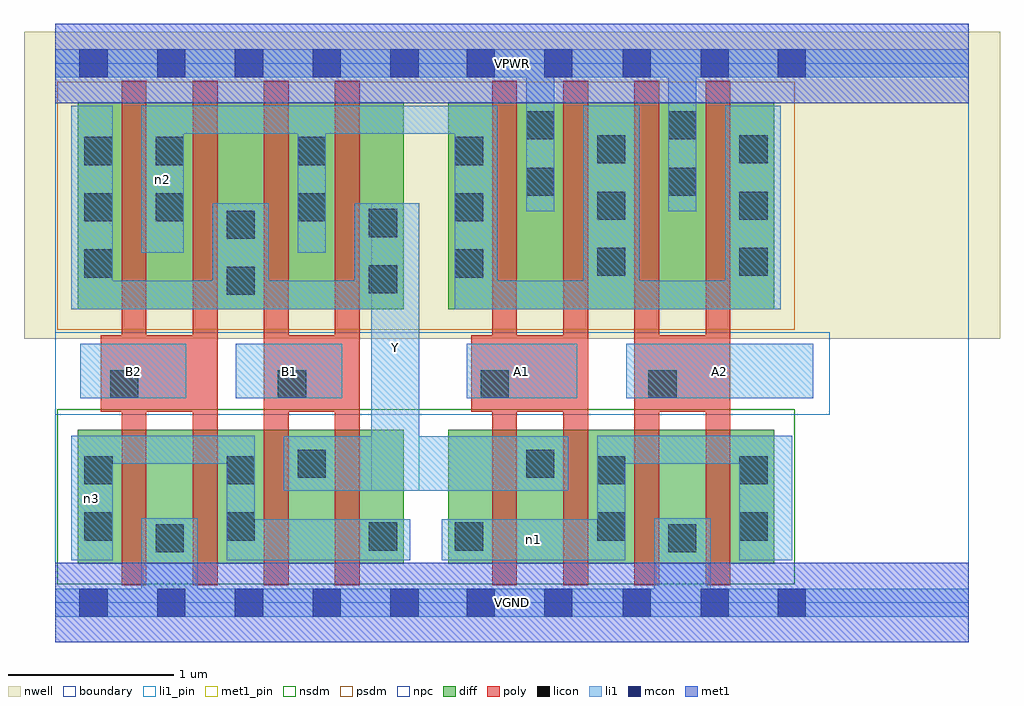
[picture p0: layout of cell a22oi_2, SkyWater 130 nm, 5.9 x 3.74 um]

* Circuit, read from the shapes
.subckt a22oi_2 A1 A2 B1 B2 VGND VPWR Y n1 n2 n3
XM1 VGND B2 n3 VSUBS sky130_fd_pr__nfet_01v8 w=0.81 l=0.15 m=2
XM2 Y B1 n3 VSUBS sky130_fd_pr__nfet_01v8 w=0.81 l=0.15 m=2
XM3 Y A1 n1 VSUBS sky130_fd_pr__nfet_01v8 w=0.81 l=0.15 m=2
XM4 VGND A2 n1 VSUBS sky130_fd_pr__nfet_01v8 w=0.81 l=0.15 m=2
XM5 n2 B2 Y n4 sky130_fd_pr__pfet_01v8 w=1.25 l=0.15 m=2
XM6 n2 B1 Y n4 sky130_fd_pr__pfet_01v8 w=1.25 l=0.15 m=2
XM7 VPWR A1 n2 n4 sky130_fd_pr__pfet_01v8 w=1.25 l=0.15 m=2
XM8 VPWR A2 n2 n4 sky130_fd_pr__pfet_01v8 w=1.25 l=0.15 m=2
.ends

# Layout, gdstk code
import gdstk
lib = gdstk.Library(unit=1e-6, precision=1e-09)
def R(c, l, rs):  # rectangles x0, y0, x1, y1
    for r in rs: c.add(gdstk.rectangle(r[:2], r[2:], *l))
def A(c, l, x, y, w, h, nx, ny, dx, dy):  # array of equal rectangles
    R(c, l, [(x+i*dx, y+j*dy, x+i*dx+w, y+j*dy+h) for i in range(nx) for j in range(ny)])
nwell = (64, 20)
diff = (65, 20)
poly = (66, 20)
licon = (66, 44)
li1_pin = (67, 16)
li1 = (67, 20)
mcon = (67, 44)
met1_pin = (68, 16)
met1 = (68, 20)
nsdm = (93, 44)
psdm = (94, 20)
npc = (95, 20)
boundary = (235, 4)

a22oi_2 = lib.new_cell('a22oi_2')
R(a22oi_2, nwell, [(-0.19,1.595,5.71,3.45), (0,1.595,5.52,3.45)])
R(a22oi_2, diff, [(0.135,0.235,2.105,1.045), (2.375,0.235,4.345,1.045), (0.135,1.775,2.105,3.025), (2.375,1.775,4.345,3.025)])
A(a22oi_2, poly, 0.4, 0.105, 0.15, 3.05, 4, 1, 0.43, 0)
A(a22oi_2, poly, 2.64, 0.105, 0.15, 3.05, 4, 1, 0.43, 0)
R(a22oi_2, poly, [(0.275,1.155,0.98,1.615), (1.26,1.155,1.84,1.615), (2.515,1.155,3.22,1.615), (3.5,1.155,4.08,1.615)])
A(a22oi_2, licon, 0.175, 1.965, 0.17, 0.17, 1, 3, 0, 0.34)
A(a22oi_2, licon, 2.415, 1.965, 0.17, 0.17, 1, 3, 0, 0.34)
A(a22oi_2, licon, 3.275, 1.975, 0.17, 0.17, 1, 3, 0, 0.34)
A(a22oi_2, licon, 4.135, 1.975, 0.17, 0.17, 1, 3, 0, 0.34)
R(a22oi_2, licon, [(0.605,0.305,0.775,0.475), (3.705,0.305,3.875,0.475), (1.895,0.315,2.065,0.485), (2.415,0.315,2.585,0.485), (0.175,0.375,0.345,0.545), (1.035,0.375,1.205,0.545), (3.275,0.375,3.445,0.545), (4.135,0.375,4.305,0.545), (0.175,0.715,0.345,0.885), (1.035,0.715,1.205,0.885), (3.275,0.715,3.445,0.885), (4.135,0.715,4.305,0.885), (1.465,0.755,1.635,0.925), (2.845,0.755,3.015,0.925), (0.33,1.235,0.5,1.405), (1.345,1.235,1.515,1.405), (2.57,1.235,2.74,1.405), (3.585,1.235,3.755,1.405), (1.035,1.86,1.205,2.03), (1.895,1.87,2.065,2.04), (1.035,2.2,1.205,2.37), (1.895,2.21,2.065,2.38), (0.605,2.305,0.775,2.475), (1.465,2.305,1.635,2.475), (2.845,2.46,3.015,2.63), (3.705,2.46,3.875,2.63), (0.605,2.645,0.775,2.815), (1.465,2.645,1.635,2.815), (2.845,2.8,3.015,2.97), (3.705,2.8,3.875,2.97)])
R(a22oi_2, li1_pin, [(1.91,0.675,2.2,2.415), (0.15,1.235,0.79,1.565), (1.09,1.235,1.735,1.565), (2.485,1.235,3.155,1.565), (3.45,1.235,4.58,1.565)])
R(a22oi_2, li1, [(0,-0.085,5.52,0.085), (0.52,-0.085,0.86,0.51), (3.62,-0.085,3.96,0.51), (0.095,0.255,0.345,1.01), (1.035,0.255,2.145,0.505), (1.035,0.255,1.205,1.01), (2.335,0.255,3.445,0.505), (3.275,0.255,3.445,1.01), (4.135,0.255,4.455,1.01), (1.38,0.675,3.1,1.005), (1.91,0.675,2.2,2.415), (0.095,0.84,1.205,1.01), (3.275,0.84,4.455,1.01), (0.15,1.235,0.79,1.565), (1.09,1.235,1.735,1.565), (2.485,1.235,3.155,1.565), (3.45,1.235,4.58,1.565), (0.095,1.775,2.2,1.945), (0.095,1.775,0.345,3.005), (0.95,1.775,1.29,2.415), (1.81,1.775,2.2,2.415), (2.415,1.775,4.385,1.945), (2.415,1.775,2.67,3.005), (3.19,1.775,3.53,3.005), (4.05,1.775,4.385,3.005), (0.52,2.115,0.775,3.005), (1.465,2.115,1.635,3.005), (2.845,2.365,3.015,3.345), (3.705,2.365,3.875,3.345), (0.52,2.835,2.67,3.005), (0,3.175,5.52,3.345)])
A(a22oi_2, mcon, 0.145, -0.085, 0.17, 0.17, 5, 2, 0.47, 3.26)
R(a22oi_2, mcon, [(2.485,-0.085,2.655,0.085), (2.955,-0.085,3.125,0.085), (3.43,-0.085,3.6,0.085), (3.9,-0.085,4.07,0.085), (4.365,-0.085,4.535,0.085), (2.485,3.175,2.655,3.345), (2.955,3.175,3.125,3.345), (3.43,3.175,3.6,3.345), (3.9,3.175,4.07,3.345), (4.365,3.175,4.535,3.345)])
R(a22oi_2, met1_pin, [(0,-0.24,5.52,0.24), (0,3.02,5.52,3.5)])
R(a22oi_2, met1, [(0,-0.24,5.52,0.24), (0,3.02,5.52,3.5)])
R(a22oi_2, nsdm, [(0.01,0.11,4.47,1.17)])
R(a22oi_2, psdm, [(0.01,1.65,4.47,3.15)])
R(a22oi_2, npc, [(0,1.135,4.68,1.635)])
R(a22oi_2, boundary, [(0,0,5.52,3.26)])
a22oi_2.add(gdstk.Label('A1', (2.82,1.4), layer=67, texttype=5))
a22oi_2.add(gdstk.Label('A2', (4.015,1.4), layer=67, texttype=5))
a22oi_2.add(gdstk.Label('B1', (1.412,1.4), layer=67, texttype=5))
a22oi_2.add(gdstk.Label('B2', (0.47,1.4), layer=67, texttype=5))
a22oi_2.add(gdstk.Label('Y', (2.055,1.545), layer=67, texttype=5))
a22oi_2.add(gdstk.Label('n3', (0.22,0.632), layer=67, texttype=5))
a22oi_2.add(gdstk.Label('n1', (2.89,0.38), layer=67, texttype=5))
a22oi_2.add(gdstk.Label('n2', (0.647,2.56), layer=67, texttype=5))
a22oi_2.add(gdstk.Label('VPWR', (2.76,3.26), layer=68, texttype=5))
a22oi_2.add(gdstk.Label('VGND', (2.76,0), layer=68, texttype=5))
a22oi_2.add(gdstk.Label('A1', (2.82,1.4), layer=67, texttype=16))
a22oi_2.add(gdstk.Label('A2', (4.015,1.4), layer=67, texttype=16))
a22oi_2.add(gdstk.Label('B1', (1.412,1.4), layer=67, texttype=16))
a22oi_2.add(gdstk.Label('B2', (0.47,1.4), layer=67, texttype=16))
a22oi_2.add(gdstk.Label('Y', (2.055,1.545), layer=67, texttype=16))
a22oi_2.add(gdstk.Label('VPWR', (2.76,3.26), layer=68, texttype=16))
a22oi_2.add(gdstk.Label('VGND', (2.76,0), layer=68, texttype=16))

lib.write_gds('a22oi_2.gds')
